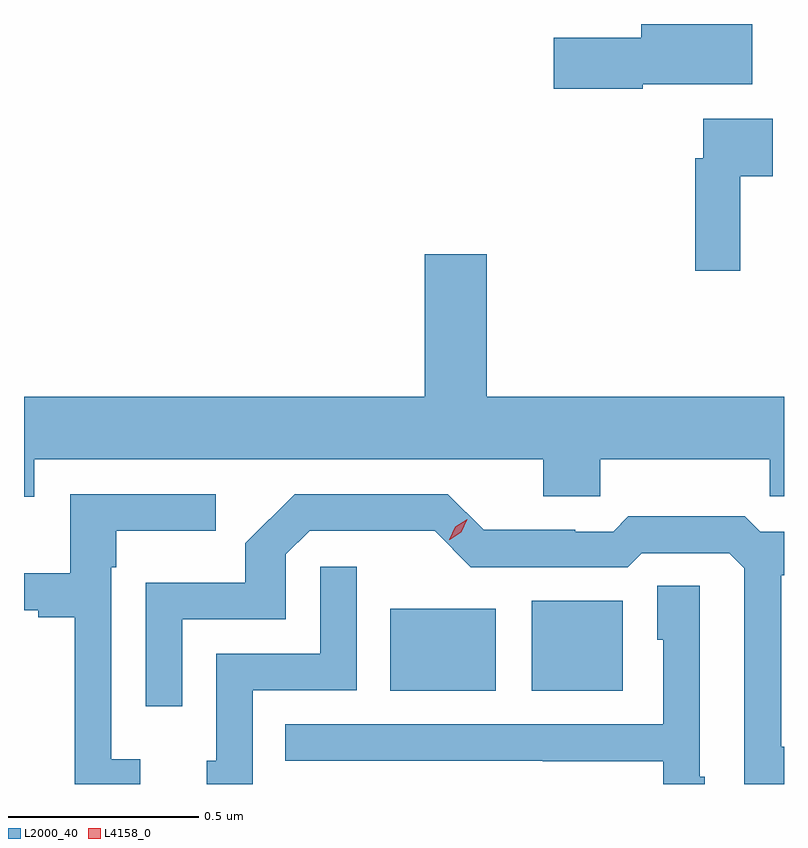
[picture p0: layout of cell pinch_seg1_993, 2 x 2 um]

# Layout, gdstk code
import gdstk
lib = gdstk.Library(unit=1e-6, precision=1e-09)
def R(c, l, rs):  # rectangles x0, y0, x1, y1
    for r in rs: c.add(gdstk.rectangle(r[:2], r[2:], *l))
def P(c, l, *ps):  # polygons
    for p in ps: c.add(gdstk.Polygon(p, *l))
L2000_40 = (2000, 40)
L4158_0 = (4158, 0)

pinch_seg1_993 = lib.new_cell('pinch_seg1_993')
R(pinch_seg1_993, L2000_40, [(188.894,511.163,189.172,511.378), (189.266,511.163,189.505,511.399), (188.984,512.916,189.148,512.917)])
P(pinch_seg1_993, L2000_40, [(189.558,512.759),(189.847,512.759),(189.847,512.917),(189.554,512.917),(189.554,512.881),(189.324,512.881),(189.324,512.746),(189.558,512.746)],
  [(189.815,512.516),(189.901,512.516),(189.901,512.668),(189.717,512.668),(189.717,512.564),(189.697,512.564),(189.697,512.268),(189.815,512.268)],
  [(187.957,511.772),(189.296,511.772),(189.296,511.674),(189.447,511.674),(189.447,511.772),(189.892,511.772),(189.892,511.674),(189.93,511.674),(189.93,511.936),(189.148,511.936),(189.148,512.311),(188.984,512.311),(188.984,511.936),(187.93,511.936),(187.93,511.673),(187.957,511.673)],
  [(189.93,511.015),(189.923,511.015),(189.923,511.466),(189.93,511.466),(189.93,511.581),(189.867,511.581),(189.827,511.621),(189.52,511.621),(189.48,511.581),(189.38,511.581),(189.38,511.586),(189.14,511.586),(189.045,511.68),(188.642,511.68),(188.512,511.55),(188.512,511.447),(188.25,511.447),(188.25,511.122),(188.346,511.122),(188.346,511.35),(188.619,511.35),(188.619,511.521),(188.682,511.584),(188.906,511.584),(188.906,511.583),(189.011,511.583),(189.105,511.488),(189.519,511.488),(189.555,511.524),(189.786,511.524),(189.825,511.485),(189.825,510.917),(189.93,510.917)],
  [(188.236,510.982),(188.16,510.982),(188.16,511.487),(188.173,511.487),(188.173,511.583),(188.434,511.583),(188.434,511.68),(188.052,511.68),(188.052,511.472),(187.93,511.472),(187.93,511.374),(187.967,511.374),(187.967,511.356),(188.063,511.356),(188.063,510.917),(188.236,510.917)],
  [(188.532,511.164),(188.805,511.164),(188.805,511.489),(188.709,511.489),(188.709,511.26),(188.436,511.26),(188.436,510.978),(188.411,510.978),(188.411,510.917),(188.532,510.917)],
  [(189.721,510.936),(189.708,510.936),(189.708,511.439),(189.596,511.439),(189.596,511.296),(189.612,511.296),(189.612,511.074),(188.617,511.074),(188.617,510.978),(189.295,510.978),(189.295,510.977),(189.612,510.977),(189.612,510.917),(189.721,510.917)])
P(pinch_seg1_993, L4158_0, [(189.049,511.56),(189.049,511.56),(189.065,511.594),(189.096,511.614),(189.097,511.614),(189.097,511.614),(189.08,511.58),(189.05,511.56)])

lib.write_gds('pinch_seg1_993.gds')
